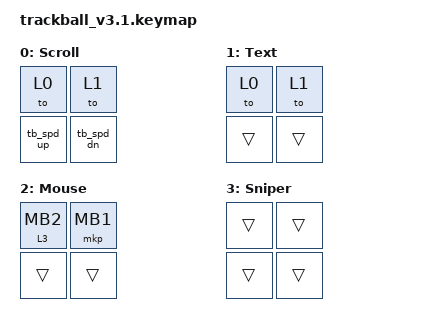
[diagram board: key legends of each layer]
#include "keys_ru.h"
#include <dt-bindings/zmk/input_transform.h>
#include <input/processors.dtsi>
#include <zephyr/dt-bindings/input/input-event-codes.h>
#include <dt-bindings/zmk/matrix_transform.h>
#include <scroll-snap.dtsi>
#include <xy-to-arrows.dtsi>
#include <tb-speed.dtsi>
#include <behaviors.dtsi>
#include <dt-bindings/zmk/keys.h>
#include <dt-bindings/zmk/pointing.h>

/ {
    default_transform: keymap_transform_0 {
        compatible = "zmk,matrix-transform";
        columns = <2>;
        rows = <2>;
        map = <
        RC(0,3) RC(0,2)
        RC(0,5) RC(0,4)
        >;
    };

    combos {
        compatible = "zmk,combos";

        /* В слоях 0 (SCROLL) и 1 (TEXT): обе верхние кнопки вместе = вход в режим запасной мыши (MOUSE) */
        combo_to_mouse {
            key-positions = <0 1>;
            layers = <0 1>;
            bindings = <&to 2>;
        };

        /* В слоях 2 (MOUSE) и 3 (SNIPER): клик обеих = СКМ (MB3), удержание 250 мс = возврат в 0 (SCROLL) */
        combo_mouse_mb3_or_scroll {
            key-positions = <0 1>;
            layers = <2 3>;
            bindings = <&hold_to_tap_mkp 0 MB3>;
        };
    };

    behaviors {
        hold_mo_tap_mkp: hold_mo_tap_mkp {
            compatible = "zmk,behavior-hold-tap";
            label = "HOLD_MO_TAP_MKP";
            bindings = <&mo>, <&mkp>;

            #binding-cells = <2>;
            tapping-term-ms = <200>;
            hold-while-undecided;
            hold-while-undecided-linger;
        };

        hold_to_tap_mkp: hold_to_tap_mkp {
            compatible = "zmk,behavior-hold-tap";
            label = "HOLD_TO_TAP_MKP";
            bindings = <&to>, <&mkp>;

            #binding-cells = <2>;
            flavor = "tap-preferred";
            tapping-term-ms = <250>;
        };
    };

    keymap {
        compatible = "zmk,keymap";

        /* Слой 0 (SCROLL, старт):
         * Верх: pos 0 (правая) = &to 0 (SCROLL), pos 1 (левая) = &to 1 (TEXT)
         * Дно:  pos 2 (RC(0,5), внутренняя #3 ближе к центру) = Speed + (&tb_spd_up)
         *       pos 3 (RC(0,4), внешняя #2 ближе к краю)      = Speed - (&tb_spd_dn)
         * Удержание любой из нижних кнопок >= 800 мс = сброс на Пресет 3 (по умолчанию).
         */
        scroll_base {
            bindings = <
&to 0       &to 1
&tb_spd_up  &tb_spd_dn
            >;

            display-name = "Scroll";
        };

        /* Слой 1 (TEXT, 4-way стрелки): pos 0 (правая) = &to 0 (SCROLL), pos 1 (левая) = &to 1 */
        text_arrows {
            bindings = <
&to 0   &to 1
&trans  &trans
            >;

            display-name = "Text";
        };

        /* Слой 2 (MOUSE, запасная мышь): pos 0 (правая) = ПКМ / удержание SNIPER, pos 1 (левая) = ЛКМ */
        mouse {
            bindings = <
&hold_mo_tap_mkp 3 MB2  &mkp MB1
&trans                  &trans
            >;

            display-name = "Mouse";
        };

        /* Слой 3 (SNIPER, 1/4 скорости поверх MOUSE) */
        sniper {
            bindings = <
&trans  &trans
&trans  &trans
            >;

            display-name = "Sniper";
        };
    };
};

&trackball {
    cpi = <1000>;
    force-awake;
    force-awake-4ms-mode;
};

&zip_scroll_snap {
    x-threshold = <5 8>;
    y-threshold = <1 1>;
    require-n-samples = <5>;
    immediate-snap-threshold = <16>;
};

&trackball_listener {
    /* По умолчанию (Слой 0: SCROLL): 16x USB Hi-Res плавный 2D-скролл со snap ДО делителя скорости */
    input-processors =
        <&zip_xy_transform INPUT_TRANSFORM_Y_INVERT>,
        <&zip_xy_to_scroll_mapper>,
        <&zip_scroll_snap>,
        <&zip_tb_scroll_scaler>;

    /* Слой 1 (TEXT): 4-позиционные стрелки с динамическим порогом из активного пресета 1..5 */
    text {
        layers = <1>;
        input-processors = <&zip_xy_to_arrows &zip_xy_scaler 0 1>;
    };

    /* Важно: sniper (Слой 3) стоит выше mouse (Слой 2), чтобы работать поверх включённого Слоя 2 */
    sniper {
        layers = <3>;
        input-processors = <&zip_xy_scaler 1 4>;
    };

    /* Слой 2 (MOUSE): курсор мыши */
    mouse {
        layers = <2>;
        input-processors = <&zip_xy_scaler 9 20>;
    };
};
